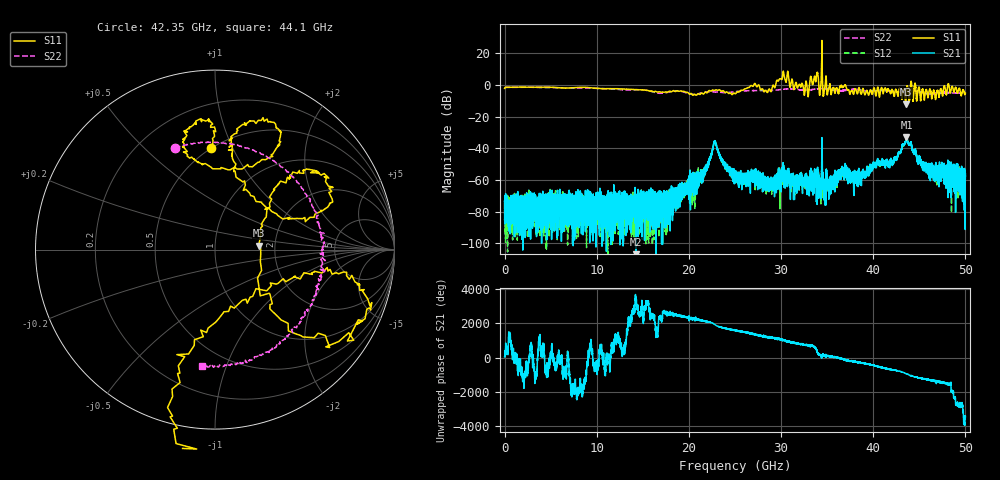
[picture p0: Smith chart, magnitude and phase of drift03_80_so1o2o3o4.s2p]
!Created with skrf (http://scikit-rf.org).
# Hz S RI R 50.0
!freq ReS11 ImS11 ReS21 ImS21 ReS12 ImS12 ReS22 ImS22
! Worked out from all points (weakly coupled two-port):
!   10000 points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, 5.3 MHz to 50 GHz, reference 50 ohm
!   highest |S21| = -33.08 dB at 43.61 GHz (marker M1); lowest = -112.7 dB at 14.26 GHz (marker M2)
!   lowest |S11| = -12.3 dB at 43.52 GHz (marker M3), VSWR 1.65, Z = 82 + j3.73 ohm
!   |S11| at or under -10 dB: 43.48162 GHz to 43.55641 GHz (74.79 MHz wide, 0.172 % of centre); 44.30746 GHz to 44.32811 GHz (20.64 MHz wide, 0.0466 % of centre); 44.70421 GHz to 44.71203 GHz (7.817 MHz wide, 0.0175 % of centre) (the widest 3 of 5)
!   |S22| runs from -5.9 to -1.3 dB; largest |S21 - S12| = 0.01
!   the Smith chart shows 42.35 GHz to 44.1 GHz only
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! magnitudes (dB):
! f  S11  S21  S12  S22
! 5.3 MHz  -2.1  -73.7  -74.3  -2.1
! 8.34 GHz  -1.5  -93.9  -81.9  -1.9
! 14.26 GHz  -2.9  -112.7  -75.0  -3.0
! 16.67 GHz  -4.4  -81.4  -73.0  -5.2
! 21.35 GHz  -5.2  -59.0  -59.1  -5.1
! 22.81 GHz  -3.5  -35.3  -35.3  -4.4
! 25.01 GHz  -5.5  -57.4  -56.0  -4.3
! 27.02 GHz  -0.3  -61.3  -56.4  -3.5
! 28.72 GHz  -2.5  -63.1  -61.0  -3.5
! 30.14 GHz  4.5  -52.2  -55.6  -2.8
! 32.74 GHz  2.0  -66.0  -57.3  -3.4
! 33.34 GHz  2.6  -54.2  -56.4  -2.9
! 33.82 GHz  4.0  -59.7  -58.6  -2.5
! 34.9 GHz  4.4  -56.6  -57.3  -2.3
! 36.45 GHz  -0.6  -55.9  -54.2  -3.7
! 38.1 GHz  -2.7  -55.7  -57.6  -2.8
! 41.67 GHz  -2.9  -50.5  -49.6  -3.6
! 43.52 GHz  -12.3  -35.8  -35.5  -4.3
! 43.61 GHz  -3.7  -33.1  -33.7  -4.2
! 46.22 GHz  -3.7  -54.6  -52.7  -5.4
! 48.32 GHz  -4.4  -52.4  -53.0  -4.9
! 50 GHz  -5.2  -57.5  -60.0  -5.0
